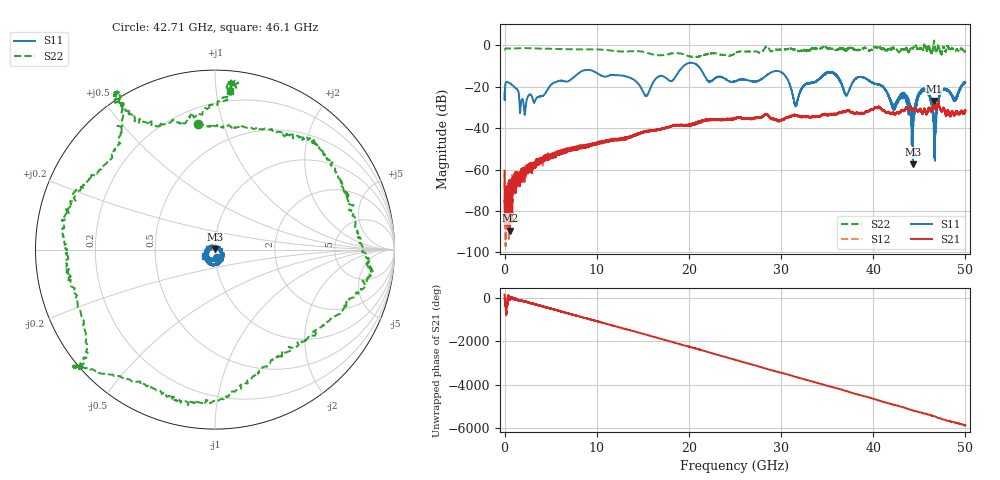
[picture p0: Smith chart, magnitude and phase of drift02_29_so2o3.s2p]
!Created with skrf (http://scikit-rf.org).
# Hz S RI R 50.0
!freq ReS11 ImS11 ReS21 ImS21 ReS12 ImS12 ReS22 ImS22
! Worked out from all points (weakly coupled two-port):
!   10001 points, 300 kHz to 50 GHz, reference 50 ohm
!   highest |S21| = -26.88 dB at 46.61 GHz (marker M1); lowest = -89.5 dB at 575.3 MHz (marker M2)
!   lowest |S11| = -57.4 dB at 44.3 GHz (marker M3), VSWR 1.00, Z = 49.9 + j0.0565 ohm
!   |S11| at or under -10 dB: start of sweep to 19.42 GHz; 21.01 GHz to end of sweep
!   |S22| runs from -5.7 to 2.4 dB; largest |S21 - S12| = 0.0034
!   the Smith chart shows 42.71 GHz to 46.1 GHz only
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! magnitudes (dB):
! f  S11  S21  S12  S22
! 300 kHz  -22.6  -60.6  -60.9  -2.1
! 575.3 MHz  -18.3  -89.5  -68.8  -1.5
! 2.185 GHz  -33.5  -60.5  -63.5  -1.3
! 8.335 GHz  -12.5  -49.2  -48.7  -1.9
! 15.34 GHz  -24.4  -41.6  -41.6  -3.4
! 16.67 GHz  -15.1  -40.7  -40.6  -4.7
! 20.28 GHz  -8.4  -38.2  -38.4  -5.5
! 25 GHz  -17.3  -35.3  -35.6  -3.9
! 29.86 GHz  -12.6  -36.3  -36.5  -2.0
! 31.59 GHz  -28.8  -33.9  -34.0  -2.4
! 33.34 GHz  -17.9  -34.4  -34.6  -1.6
! 35.59 GHz  -13.3  -33.1  -33.2  -1.6
! 37.1 GHz  -24.2  -31.8  -31.6  -2.2
! 38.76 GHz  -15.3  -32.9  -32.8  -1.0
! 41.67 GHz  -24.3  -32.1  -32.2  -1.9
! 43.42 GHz  -23.8  -31.3  -31.5  -1.9
! 44.3 GHz  -57.4  -31.1  -31.2  -1.4
! 45.61 GHz  -21.7  -31.2  -31.1  0.2
! 46.61 GHz  -37.9  -26.9  -26.8  2.4
! 47.47 GHz  -21.9  -31.8  -31.8  -3.4
! 48.89 GHz  -25.5  -33.2  -33.3  -2.8
! 50 GHz  -18.0  -31.3  -31.4  -2.8
